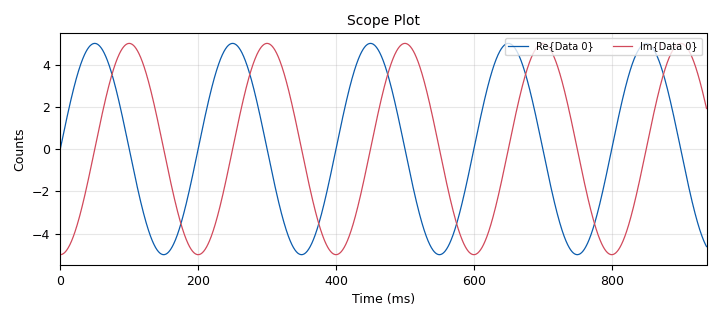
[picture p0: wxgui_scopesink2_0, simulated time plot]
<?xml version='1.0' encoding='utf-8'?>
<flow_graph>
<block>
<key>options</key>
<param><key>id</key><value>top_block</value></param>
<param><key>generate_options</key><value>wx_gui</value></param>
<param><key>category</key><value>Custom</value></param>
</block>
<block>
<key>gr_throttle</key>
<param><key>id</key><value>gr_throttle_0</value></param>
<param><key>type</key><value>complex</value></param>
<param><key>samples_per_second</key><value>samp_rate</value></param>
<param><key>vlen</key><value>1</value></param>
</block>
<block>
<key>wxgui_scopesink2</key>
<param><key>id</key><value>wxgui_scopesink2_0</value></param>
<param><key>type</key><value>complex</value></param>
<param><key>title</key><value>Scope Plot</value></param>
<param><key>samp_rate</key><value>samp_rate</value></param>
<param><key>v_scale</key><value>0</value></param>
<param><key>v_offset</key><value>0</value></param>
<param><key>t_scale</key><value>0</value></param>
<param><key>ac_couple</key><value>False</value></param>
<param><key>xy_mode</key><value>False</value></param>
<param><key>num_inputs</key><value>1</value></param>
<param><key>trig_mode</key><value>gr.gr_TRIG_MODE_AUTO</value></param>
<param><key>y_axis_label</key><value>Counts</value></param>
</block>
<block>
<key>variable</key>
<param><key>id</key><value>samp_rate</value></param>
<param><key>value</key><value>32000</value></param>
</block>
<block>
<key>variable_slider</key>
<param><key>id</key><value>variable_slider_0</value></param>
<param><key>label</key><value></value></param>
<param><key>value</key><value>5</value></param>
<param><key>min</key><value>0</value></param>
<param><key>max</key><value>100</value></param>
<param><key>num_steps</key><value>100</value></param>
<param><key>style</key><value>wx.SL_HORIZONTAL</value></param>
<param><key>converver</key><value>float_converter</value></param>
</block>
<block>
<key>gr_sig_source_x</key>
<param><key>id</key><value>gr_sig_source_x_0</value></param>
<param><key>type</key><value>complex</value></param>
<param><key>samp_rate</key><value>samp_rate</value></param>
<param><key>waveform</key><value>gr.GR_COS_WAVE</value></param>
<param><key>freq</key><value>variable_slider_0</value></param>
<param><key>amp</key><value>5</value></param>
<param><key>offset</key><value>0</value></param>
</block>
<connection><source_block_id>gr_sig_source_x_0</source_block_id><sink_block_id>gr_throttle_0</sink_block_id><source_key>0</source_key><sink_key>0</sink_key></connection>
<connection><source_block_id>gr_throttle_0</source_block_id><sink_block_id>wxgui_scopesink2_0</sink_block_id><source_key>0</source_key><sink_key>0</sink_key></connection>
</flow_graph>
